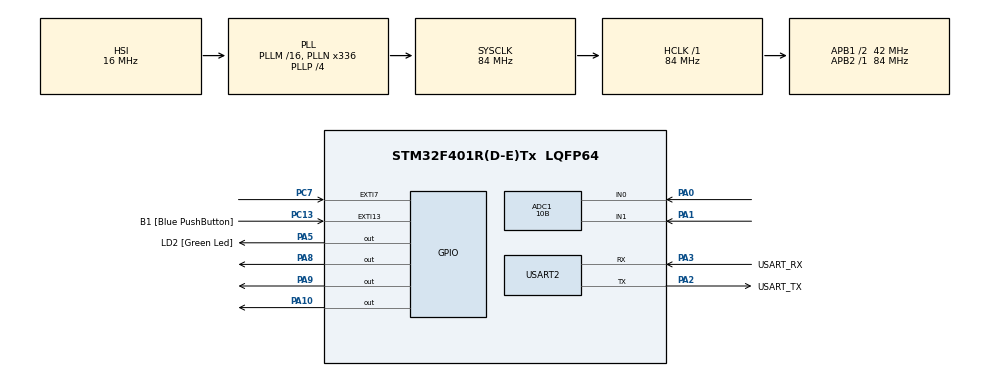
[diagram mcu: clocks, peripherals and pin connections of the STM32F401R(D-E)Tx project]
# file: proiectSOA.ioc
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ADC1.Channel-4\#ChannelRegularConversion=ADC_CHANNEL_0
ADC1.Channel-5\#ChannelRegularConversion=ADC_CHANNEL_1
ADC1.ContinuousConvMode=DISABLE
ADC1.DMAContinuousRequests=DISABLE
ADC1.DiscontinuousConvMode=DISABLE
ADC1.NbrOfConversion=2
ADC1.NbrOfConversionFlag=1
ADC1.Rank-4\#ChannelRegularConversion=1
ADC1.Rank-5\#ChannelRegularConversion=2
ADC1.Resolution=ADC_RESOLUTION_10B
ADC1.SamplingTime-4\#ChannelRegularConversion=ADC_SAMPLETIME_3CYCLES
ADC1.SamplingTime-5\#ChannelRegularConversion=ADC_SAMPLETIME_3CYCLES
ADC1.ScanConvMode=ENABLE
ADC1.master=1
Dma.ADC1.0.Direction=DMA_PERIPH_TO_MEMORY
Dma.ADC1.0.FIFOMode=DMA_FIFOMODE_DISABLE
Dma.ADC1.0.Instance=DMA2_Stream0
Dma.ADC1.0.MemDataAlignment=DMA_MDATAALIGN_HALFWORD
Dma.ADC1.0.MemInc=DMA_MINC_ENABLE
Dma.ADC1.0.Mode=DMA_NORMAL
Dma.ADC1.0.PeriphDataAlignment=DMA_PDATAALIGN_HALFWORD
Dma.ADC1.0.PeriphInc=DMA_PINC_DISABLE
Dma.ADC1.0.Priority=DMA_PRIORITY_LOW
Dma.Request0=ADC1
FREERTOS.Queues01=myQueue01,16,uint16_t,0,Dynamic,NULL,NULL;myQueue02,16,uint16_t,0,Dynamic,NULL,NULL
FREERTOS.Tasks01=myTask01,24,128,StartDefaultTask,Default,NULL,Dynamic,NULL,NULL;myTask02,24,128,StartTask02,Default,NULL,Dynamic,NULL,NULL;myTask03,24,128,StartTask03,Default,NULL,Dynamic,NULL,NULL;myTask04,24,128,StartTask04,Default,NULL,Dynamic,NULL,NULL
Mcu.Family=STM32F4
Mcu.Name=STM32F401R(D-E)Tx
Mcu.Package=LQFP64
NVIC.ADC_IRQn=true\:5\:0\:false\:false\:true\:true\:true\:true\:true
NVIC.DMA2_Stream0_IRQn=true\:5\:0\:false\:false\:true\:true\:false\:true\:true
NVIC.EXTI9_5_IRQn=true\:5\:0\:false\:false\:true\:true\:true\:true\:true
NVIC.PriorityGroup=NVIC_PRIORITYGROUP_4
NVIC.TIM5_IRQn=true\:15\:0\:false\:false\:true\:false\:false\:true\:true
NVIC.TimeBase=TIM5_IRQn
NVIC.TimeBaseIP=TIM5
PA0-WKUP.Signal=ADCx_IN0
PA1.Signal=ADCx_IN1
PA10.Signal=GPIO_Output
PA13.GPIO_Label=TMS
PA13.Mode=Serial_Wire
PA13.Signal=SYS_JTMS-SWDIO
PA14.GPIO_Label=TCK
PA14.Mode=Serial_Wire
PA14.Signal=SYS_JTCK-SWCLK
PA2.GPIO_Label=USART_TX
PA2.GPIO_Mode=GPIO_MODE_AF_PP
PA2.GPIO_PuPd=GPIO_NOPULL
PA2.GPIO_Speed=GPIO_SPEED_FREQ_LOW
PA2.Mode=Asynchronous
PA2.Signal=USART2_TX
PA3.GPIO_Label=USART_RX
PA3.GPIO_Mode=GPIO_MODE_AF_PP
PA3.GPIO_PuPd=GPIO_NOPULL
PA3.GPIO_Speed=GPIO_SPEED_FREQ_LOW
PA3.Mode=Asynchronous
PA3.Signal=USART2_RX
PA5.GPIO_Label=LD2 [Green Led]
PA5.GPIO_Mode=GPIO_MODE_OUTPUT_PP
PA5.GPIO_PuPd=GPIO_NOPULL
PA5.GPIO_Speed=GPIO_SPEED_FREQ_LOW
PA5.Signal=GPIO_Output
PA8.Signal=GPIO_Output
PA9.Signal=GPIO_Output
PB3.GPIO_Label=SWO
PB3.Signal=SYS_JTDO-SWO
PC13-ANTI_TAMP.GPIO_Label=B1 [Blue PushButton]
PC13-ANTI_TAMP.GPIO_ModeDefaultEXTI=GPIO_MODE_IT_FALLING
PC13-ANTI_TAMP.GPIO_PuPd=GPIO_NOPULL
PC13-ANTI_TAMP.Signal=GPXTI13
PC14-OSC32_IN.Mode=LSE-External-Oscillator
PC14-OSC32_IN.Signal=RCC_OSC32_IN
PC15-OSC32_OUT.Mode=LSE-External-Oscillator
PC15-OSC32_OUT.Signal=RCC_OSC32_OUT
PC7.Signal=GPXTI7
PH0\ -\ OSC_IN.Mode=HSE-External-Clock-Source
PH0\ -\ OSC_IN.Signal=RCC_OSC_IN
PH1\ -\ OSC_OUT.Mode=HSE-External-Clock-Source
PH1\ -\ OSC_OUT.Signal=RCC_OSC_OUT
ProjectManager.HeapSize=0x200
ProjectManager.StackSize=0x400
ProjectManager.TargetToolchain=STM32CubeIDE
RCC.48MHZClocksFreq_Value=48000000
RCC.AHBFreq_Value=84000000
RCC.APB1CLKDivider=RCC_HCLK_DIV2
RCC.APB1Freq_Value=42000000
RCC.APB1TimFreq_Value=84000000
RCC.APB2Freq_Value=84000000
RCC.APB2TimFreq_Value=84000000
RCC.CortexFreq_Value=84000000
RCC.HCLKFreq_Value=84000000
RCC.HSE_VALUE=8000000
RCC.HSI_VALUE=16000000
RCC.PLLN=336
RCC.PLLP=RCC_PLLP_DIV4
RCC.PLLQ=7
RCC.SYSCLKFreq_VALUE=84000000
RCC.SYSCLKSource=RCC_SYSCLKSOURCE_PLLCLK
RCC.VCOOutputFreq_Value=336000000
SH.ADCx_IN0.0=ADC1_IN0,IN0
SH.ADCx_IN1.0=ADC1_IN1,IN1
USART2.VirtualMode=VM_ASYNC
VP_FREERTOS_VS_CMSIS_V2.Mode=CMSIS_V2
VP_SYS_VS_tim5.Mode=TIM5
board=NUCLEO-F401RE

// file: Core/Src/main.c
/* USER CODE BEGIN Header */
/**
  ******************************************************************************
  * @file           : main.c
  * @brief          : Main program body
  ******************************************************************************
  * @attention
  *
  * Copyright (c) 2023 STMicroelectronics.
  * All rights reserved.
  *
  * This software is licensed under terms that can be found in the LICENSE file
  * in the root directory of this software component.
  * If no LICENSE file comes with this software, it is provided AS-IS.
  *
  ******************************************************************************
  */
/* USER CODE END Header */
#include "main.h"
#include "cmsis_os.h"

/* USER CODE BEGIN Includes */
#include <stdio.h>
#include <string.h>
/* USER CODE END Includes */

/* USER CODE BEGIN PD */
#define AUTOMAT 0
#define MANUAL 1
uint8_t mod = MANUAL;
uint32_t adcValues[2];
/* USER CODE END PD */

ADC_HandleTypeDef hadc1;
DMA_HandleTypeDef hdma_adc1;

UART_HandleTypeDef huart2;

/* Definitions for myTask01 */
osThreadId_t myTask01Handle;
const osThreadAttr_t myTask01_attributes = {
  .name = "myTask01",
  .stack_size = 128 * 4,
  .priority = (osPriority_t) osPriorityNormal,
};
/* Definitions for myTask02 */
osThreadId_t myTask02Handle;
const osThreadAttr_t myTask02_attributes = {
  .name = "myTask02",
  .stack_size = 128 * 4,
  .priority = (osPriority_t) osPriorityNormal,
};
/* Definitions for myTask03 */
osThreadId_t myTask03Handle;
const osThreadAttr_t myTask03_attributes = {
  .name = "myTask03",
  .stack_size = 128 * 4,
  .priority = (osPriority_t) osPriorityNormal,
};
/* Definitions for myTask04 */
osThreadId_t myTask04Handle;
const osThreadAttr_t myTask04_attributes = {
  .name = "myTask04",
  .stack_size = 128 * 4,
  .priority = (osPriority_t) osPriorityNormal,
};
/* Definitions for myQueue01 */
osMessageQueueId_t myQueue01Handle;
const osMessageQueueAttr_t myQueue01_attributes = {
  .name = "myQueue01"
};
/* Definitions for myQueue02 */
osMessageQueueId_t myQueue02Handle;
const osMessageQueueAttr_t myQueue02_attributes = {
  .name = "myQueue02"
};

void SystemClock_Config(void);
static void MX_GPIO_Init(void);
static void MX_DMA_Init(void);
static void MX_USART2_UART_Init(void);
static void MX_ADC1_Init(void);
void StartDefaultTask(void *argument);
void StartTask02(void *argument);
void StartTask03(void *argument);
void StartTask04(void *argument);

int main(void)
{

  /* MCU Configuration--------------------------------------------------------*/

  /* Reset of all peripherals, Initializes the Flash interface and the Systick. */
  HAL_Init();

  /* Configure the system clock */
  SystemClock_Config();

  /* Initialize all configured peripherals */
  MX_GPIO_Init();
  MX_DMA_Init();
  MX_USART2_UART_Init();
  MX_ADC1_Init();

  /* Init scheduler */
  osKernelInitialize();

  /* Create the queue(s) */
  /* creation of myQueue01 */
  myQueue01Handle = osMessageQueueNew (16, sizeof(uint16_t), &myQueue01_attributes);

  /* creation of myQueue02 */
  myQueue02Handle = osMessageQueueNew (16, sizeof(uint16_t), &myQueue02_attributes);

  /* Create the thread(s) */
  /* creation of myTask01 */
  myTask01Handle = osThreadNew(StartDefaultTask, NULL, &myTask01_attributes);

  /* creation of myTask02 */
  myTask02Handle = osThreadNew(StartTask02, NULL, &myTask02_attributes);

  /* creation of myTask03 */
  myTask03Handle = osThreadNew(StartTask03, NULL, &myTask03_attributes);

  /* creation of myTask04 */
  myTask04Handle = osThreadNew(StartTask04, NULL, &myTask04_attributes);

  /* Start scheduler */
  osKernelStart();

  /* We should never get here as control is now taken by the scheduler */
  /* Infinite loop */
  while (1)
  {

  }
}

void SystemClock_Config(void)
{
  RCC_OscInitTypeDef RCC_OscInitStruct = {0};
  RCC_ClkInitTypeDef RCC_ClkInitStruct = {0};

  /** Configure the main internal regulator output voltage
  */
  __HAL_RCC_PWR_CLK_ENABLE();
  __HAL_PWR_VOLTAGESCALING_CONFIG(PWR_REGULATOR_VOLTAGE_SCALE2);

  /** Initializes the RCC Oscillators according to the specified parameters
  * in the RCC_OscInitTypeDef structure.
  */
  RCC_OscInitStruct.OscillatorType = RCC_OSCILLATORTYPE_HSI;
  RCC_OscInitStruct.HSIState = RCC_HSI_ON;
  RCC_OscInitStruct.HSICalibrationValue = RCC_HSICALIBRATION_DEFAULT;
  RCC_OscInitStruct.PLL.PLLState = RCC_PLL_ON;
  RCC_OscInitStruct.PLL.PLLSource = RCC_PLLSOURCE_HSI;
  RCC_OscInitStruct.PLL.PLLM = 16;
  RCC_OscInitStruct.PLL.PLLN = 336;
  RCC_OscInitStruct.PLL.PLLP = RCC_PLLP_DIV4;
  RCC_OscInitStruct.PLL.PLLQ = 7;
  if (HAL_RCC_OscConfig(&RCC_OscInitStruct) != HAL_OK)
  {
    Error_Handler();
  }

  /** Initializes the CPU, AHB and APB buses clocks
  */
  RCC_ClkInitStruct.ClockType = RCC_CLOCKTYPE_HCLK|RCC_CLOCKTYPE_SYSCLK
                              |RCC_CLOCKTYPE_PCLK1|RCC_CLOCKTYPE_PCLK2;
  RCC_ClkInitStruct.SYSCLKSource = RCC_SYSCLKSOURCE_PLLCLK;
  RCC_ClkInitStruct.AHBCLKDivider = RCC_SYSCLK_DIV1;
  RCC_ClkInitStruct.APB1CLKDivider = RCC_HCLK_DIV2;
  RCC_ClkInitStruct.APB2CLKDivider = RCC_HCLK_DIV1;

  if (HAL_RCC_ClockConfig(&RCC_ClkInitStruct, FLASH_LATENCY_2) != HAL_OK)
  {
    Error_Handler();
  }
}

static void MX_ADC1_Init(void)
{

  ADC_ChannelConfTypeDef sConfig = {0};

  /** Configure the global features of the ADC (Clock, Resolution, Data Alignment and number of conversion)
  */
  hadc1.Instance = ADC1;
  hadc1.Init.ClockPrescaler = ADC_CLOCK_SYNC_PCLK_DIV4;
  hadc1.Init.Resolution = ADC_RESOLUTION_10B;
  hadc1.Init.ScanConvMode = ENABLE;
  hadc1.Init.ContinuousConvMode = DISABLE;
  hadc1.Init.DiscontinuousConvMode = DISABLE;
  hadc1.Init.ExternalTrigConvEdge = ADC_EXTERNALTRIGCONVEDGE_NONE;
  hadc1.Init.ExternalTrigConv = ADC_SOFTWARE_START;
  hadc1.Init.DataAlign = ADC_DATAALIGN_RIGHT;
  hadc1.Init.NbrOfConversion = 2;
  hadc1.Init.DMAContinuousRequests = DISABLE;
  hadc1.Init.EOCSelection = ADC_EOC_SINGLE_CONV;
  if (HAL_ADC_Init(&hadc1) != HAL_OK)
  {
    Error_Handler();
  }

  /** Configure for the selected ADC regular channel its corresponding rank in the sequencer and its sample time.
  */
  sConfig.Channel = ADC_CHANNEL_0;
  sConfig.Rank = 1;
  sConfig.SamplingTime = ADC_SAMPLETIME_3CYCLES;
  if (HAL_ADC_ConfigChannel(&hadc1, &sConfig) != HAL_OK)
  {
    Error_Handler();
  }

  /** Configure for the selected ADC regular channel its corresponding rank in the sequencer and its sample time.
  */
  sConfig.Channel = ADC_CHANNEL_1;
  sConfig.Rank = 2;
  if (HAL_ADC_ConfigChannel(&hadc1, &sConfig) != HAL_OK)
  {
    Error_Handler();
  }

}

static void MX_USART2_UART_Init(void)
{

  huart2.Instance = USART2;
  huart2.Init.BaudRate = 115200;
  huart2.Init.WordLength = UART_WORDLENGTH_8B;
  huart2.Init.StopBits = UART_STOPBITS_1;
  huart2.Init.Parity = UART_PARITY_NONE;
  huart2.Init.Mode = UART_MODE_TX_RX;
  huart2.Init.HwFlowCtl = UART_HWCONTROL_NONE;
  huart2.Init.OverSampling = UART_OVERSAMPLING_16;
  if (HAL_UART_Init(&huart2) != HAL_OK)
  {
    Error_Handler();
  }

}

static void MX_DMA_Init(void)
{

  /* DMA controller clock enable */
  __HAL_RCC_DMA2_CLK_ENABLE();

  /* DMA interrupt init */
  /* DMA2_Stream0_IRQn interrupt configuration */
  HAL_NVIC_SetPriority(DMA2_Stream0_IRQn, 5, 0);
  HAL_NVIC_EnableIRQ(DMA2_Stream0_IRQn);

}

static void MX_GPIO_Init(void)
{
  GPIO_InitTypeDef GPIO_InitStruct = {0};

  /* GPIO Ports Clock Enable */
  __HAL_RCC_GPIOC_CLK_ENABLE();
  __HAL_RCC_GPIOH_CLK_ENABLE();
  __HAL_RCC_GPIOA_CLK_ENABLE();
  __HAL_RCC_GPIOB_CLK_ENABLE();

  /*Configure GPIO pin Output Level */
  HAL_GPIO_WritePin(GPIOA, LD2_Pin|GPIO_PIN_8|GPIO_PIN_9|GPIO_PIN_10, GPIO_PIN_RESET);

  /*Configure GPIO pin : B1_Pin */
  GPIO_InitStruct.Pin = B1_Pin;
  GPIO_InitStruct.Mode = GPIO_MODE_IT_FALLING;
  GPIO_InitStruct.Pull = GPIO_NOPULL;
  HAL_GPIO_Init(B1_GPIO_Port, &GPIO_InitStruct);

  /*Configure GPIO pins : LD2_Pin PA8 PA9 PA10 */
  GPIO_InitStruct.Pin = LD2_Pin|GPIO_PIN_8|GPIO_PIN_9|GPIO_PIN_10;
  GPIO_InitStruct.Mode = GPIO_MODE_OUTPUT_PP;
  GPIO_InitStruct.Pull = GPIO_NOPULL;
  GPIO_InitStruct.Speed = GPIO_SPEED_FREQ_LOW;
  HAL_GPIO_Init(GPIOA, &GPIO_InitStruct);

  /*Configure GPIO pin : PC7 */
  GPIO_InitStruct.Pin = GPIO_PIN_7;
  GPIO_InitStruct.Mode = GPIO_MODE_IT_RISING;
  GPIO_InitStruct.Pull = GPIO_NOPULL;
  HAL_GPIO_Init(GPIOC, &GPIO_InitStruct);

  /* EXTI interrupt init*/
  HAL_NVIC_SetPriority(EXTI9_5_IRQn, 5, 0);
  HAL_NVIC_EnableIRQ(EXTI9_5_IRQn);

}

/* USER CODE BEGIN 4 */
void HAL_GPIO_EXTI_Callback(uint16_t GPIO_Pin){

	if(GPIO_Pin == GPIO_PIN_7){
		if(mod == MANUAL){
			mod = AUTOMAT;
			HAL_GPIO_WritePin(GPIOA,LD2_Pin,SET);
		}
		else if(mod == AUTOMAT){
			mod = MANUAL;
			HAL_GPIO_WritePin(GPIOA,LD2_Pin,RESET);
		}

				}

	osDelay(100);
}
/* USER CODE END 4 */

void StartDefaultTask(void *argument)
{
  /* USER CODE BEGIN 5 */
osThreadSuspend(myTask04Handle);
  /* Infinite loop */
  for(;;)
  {

	  if(mod == MANUAL){
		  	osThreadResume(myTask04Handle);
			osThreadSuspend(myTask01Handle);
			osThreadSuspend(myTask02Handle);
			osThreadSuspend(myTask03Handle);

	  }
	  else{
			HAL_ADC_Start_DMA(&hadc1,(uint32_t*)adcValues, 2);
			adcValues[0] = HAL_ADC_GetValue(&hadc1);
			osMessageQueuePut(myQueue01Handle, &adcValues[0], 1, 10);
			osMessageQueuePut(myQueue02Handle, &adcValues[0], 1, 10);
			osDelay(200);
	  }
  }

  /* USER CODE END 5 */
}

void StartTask02(void *argument)
{
  /* USER CODE BEGIN StartTask02 */
	uint16_t valAuto;
  /* Infinite loop */
  for(;;)
  {
	  if(osMessageQueueGet(myQueue01Handle, &valAuto, (uint16_t*)1, 10) == osOK){
		  HAL_GPIO_WritePin(GPIOA, GPIO_PIN_8, RESET);
		  HAL_GPIO_WritePin(GPIOA, GPIO_PIN_9, RESET);
		  HAL_GPIO_WritePin(GPIOA, GPIO_PIN_10, RESET);
			  if(valAuto < 512){
				  HAL_GPIO_WritePin(GPIOA, GPIO_PIN_8, SET);
				  HAL_GPIO_WritePin(GPIOA, GPIO_PIN_9, RESET);
				  HAL_GPIO_WritePin(GPIOA, GPIO_PIN_10, RESET);
			  }
			  if(valAuto >= 512 && valAuto < 768 ){
				  HAL_GPIO_WritePin(GPIOA, GPIO_PIN_8, SET);
				  HAL_GPIO_WritePin(GPIOA, GPIO_PIN_9, SET);
				  HAL_GPIO_WritePin(GPIOA, GPIO_PIN_10, RESET);
			  }
			  if(valAuto >= 768){
				  HAL_GPIO_WritePin(GPIOA, GPIO_PIN_8, SET);
				  HAL_GPIO_WritePin(GPIOA, GPIO_PIN_9, SET);
				  HAL_GPIO_WritePin(GPIOA, GPIO_PIN_10, SET);
			  }
	  }
	  osDelay(250);
  }
  /* USER CODE END StartTask02 */
}

void StartTask03(void *argument)
{
  /* USER CODE BEGIN StartTask03 */
	//uint16_t readValue;
	char buffer[10];
	uint16_t valAuto;
  /* Infinite loop */
  for(;;)
  {
	  if(osMessageQueueGet(myQueue02Handle, &valAuto, (uint16_t*)1, 10) == osOK)
	  	  	    {
	  	  	    	sprintf(buffer,"ADC_read_value:%d\r\n", valAuto);
	  	  	    	HAL_UART_Transmit(&huart2, (uint16_t*)buffer,strlen(buffer),20);
	  	  	    }
	  	  	    else
	  	  	    {
	  	  	    	sprintf(buffer,"error receving");
	  	  	    }
	  osDelay(100);
  }
  /* USER CODE END StartTask03 */
}

void StartTask04(void *argument)
{
  /* USER CODE BEGIN StartTask04 */
	uint32_t valManual = 0;
	char *mesaj = "mod manual\r\n";
  /* Infinite loop */
  for(;;)
  {
	  if(mod == AUTOMAT){
		  osThreadResume(myTask01Handle);
		  osThreadResume(myTask02Handle);
		  osThreadResume(myTask03Handle);

	  }
	  else {
		  HAL_UART_Transmit(&huart2, (uint16_t*)mesaj,strlen(mesaj),20);
		  		  HAL_ADC_Start_DMA(&hadc1,(uint32_t*)adcValues, 2);
		  		  adcValues[1] = HAL_ADC_GetValue(&hadc1);
		  		  valManual = adcValues[1];

		  			 if(valManual < 512){
		  				 HAL_GPIO_WritePin(GPIOA, GPIO_PIN_8, SET);
		  				 HAL_GPIO_WritePin(GPIOA, GPIO_PIN_9, RESET);
		  				 HAL_GPIO_WritePin(GPIOA, GPIO_PIN_10, RESET);
		  			  }
		  			 if(valManual >= 512 && valManual < 768 ){
		  				 HAL_GPIO_WritePin(GPIOA, GPIO_PIN_8, SET);
		  				 HAL_GPIO_WritePin(GPIOA, GPIO_PIN_9, SET);
		  				 HAL_GPIO_WritePin(GPIOA, GPIO_PIN_10, RESET);
		  			  }
		  			  if(valManual >= 768){
		  				  HAL_GPIO_WritePin(GPIOA, GPIO_PIN_8, SET);
		  				  HAL_GPIO_WritePin(GPIOA, GPIO_PIN_9, SET);
		  				  HAL_GPIO_WritePin(GPIOA, GPIO_PIN_10, SET);
		  			  }
	  }
	  osDelay(500);
	  	  }

  /* USER CODE END StartTask04 */
}

void HAL_TIM_PeriodElapsedCallback(TIM_HandleTypeDef *htim)
{
  if (htim->Instance == TIM5) {
    HAL_IncTick();
  }
}

void Error_Handler(void)
{
  __disable_irq();
  while (1)
  {
  }
}
